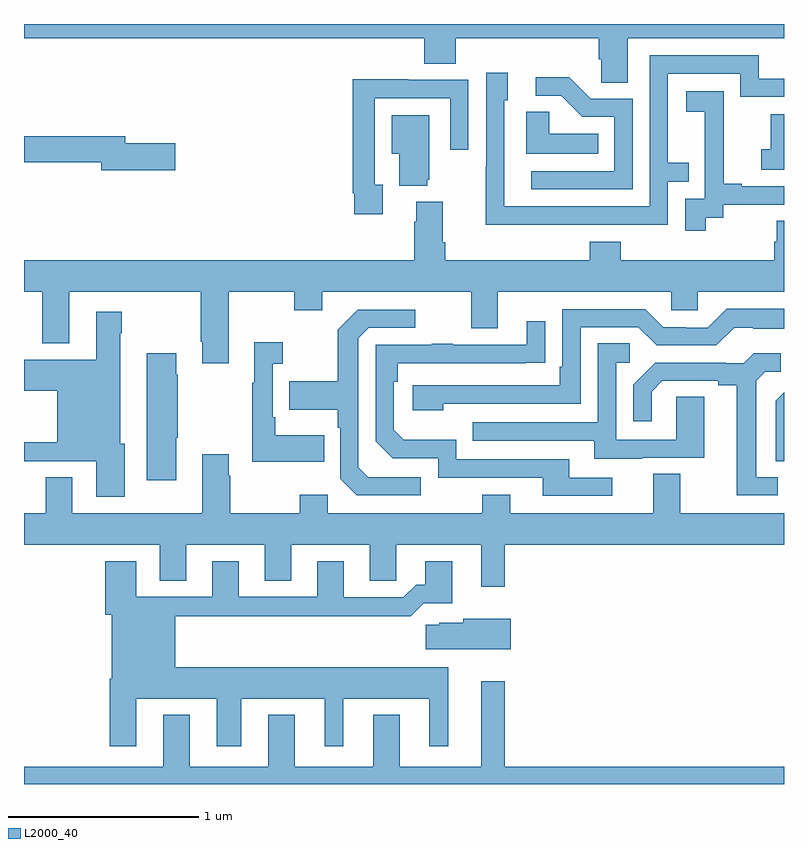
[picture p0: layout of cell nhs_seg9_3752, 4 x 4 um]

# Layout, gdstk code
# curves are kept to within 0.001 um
import gdstk
lib = gdstk.Library(unit=1e-6, precision=1e-09)
def P(c, l, *ps):  # polygons
    for p in ps: c.add(gdstk.Polygon(p, *l))
L2000_40 = (2000, 40)

nhs_seg9_3752 = lib.new_cell('nhs_seg9_3752')
P(nhs_seg9_3752, L2000_40, [(328.177,1192.424),(329,1192.424),(329,1192.5),(325,1192.5),(325,1192.424),(327.107,1192.424),(327.107,1192.291),(327.272,1192.291),(327.272,1192.424),(328.025,1192.424),(328.025,1192.315),(328.038,1192.315),(328.038,1192.192),(328.177,1192.192)],
  [(327.893,1191.444),(328.389,1191.444),(328.389,1191.669),(328.499,1191.669),(328.499,1191.77),(328.389,1191.77),(328.389,1192.239),(328.77,1192.239),(328.77,1192.116),(329,1192.116),(329,1192.212),(328.867,1192.212),(328.867,1192.335),(328.293,1192.335),(328.293,1191.54),(327.528,1191.54),(327.528,1192.098),(327.547,1192.098),(327.547,1192.243),(327.432,1192.243),(327.432,1191.749),(327.43,1191.749),(327.43,1191.443),(327.893,1191.443)],
  [(328.203,1192.107),(327.984,1192.107),(327.871,1192.22),(327.693,1192.22),(327.693,1192.122),(327.827,1192.122),(327.938,1192.011),(328.107,1192.011),(328.107,1191.726),(327.669,1191.726),(327.669,1191.63),(328.203,1191.63)],
  [(326.887,1191.654),(326.847,1191.654),(326.847,1192.11),(327.243,1192.11),(327.243,1191.837),(327.339,1191.837),(327.339,1192.206),(327.023,1192.206),(327.023,1192.208),(326.731,1192.208),(326.731,1191.61),(326.739,1191.61),(326.739,1191.498),(326.887,1191.498)],
  [(328.588,1191.481),(328.68,1191.481),(328.68,1191.549),(329,1191.549),(329,1191.645),(328.777,1191.645),(328.777,1191.658),(328.682,1191.658),(328.682,1191.941),(328.683,1191.941),(328.683,1192.147),(328.485,1192.147),(328.485,1192.037),(328.583,1192.037),(328.583,1191.809),(328.584,1191.809),(328.584,1191.579),(328.479,1191.579),(328.479,1191.411),(328.588,1191.411)],
  [(328.022,1191.922),(327.765,1191.922),(327.765,1192.037),(327.644,1192.037),(327.644,1191.818),(328.022,1191.818)],
  [(329,1192.026),(328.93,1192.026),(328.93,1191.841),(328.881,1191.841),(328.881,1191.732),(329,1191.732)],
  [(327.122,1191.681),(327.133,1191.681),(327.133,1192.021),(326.936,1192.021),(326.936,1191.818),(326.975,1191.818),(326.975,1191.65),(327.122,1191.65)],
  [(325.795,1191.872),(325.534,1191.872),(325.534,1191.908),(325,1191.908),(325,1191.772),(325.406,1191.772),(325.406,1191.73),(325.795,1191.73)],
  [(326.077,1191.092),(326.422,1191.092),(326.422,1190.993),(326.569,1190.993),(326.569,1191.092),(327.353,1191.092),(327.353,1190.898),(327.493,1190.898),(327.493,1191.092),(328.407,1191.092),(328.407,1190.994),(328.545,1190.994),(328.545,1191.092),(329,1191.092),(329,1191.464),(328.961,1191.464),(328.961,1191.354),(328.949,1191.354),(328.949,1191.256),(328.142,1191.256),(328.142,1191.355),(327.977,1191.355),(327.977,1191.256),(327.218,1191.256),(327.218,1191.352),(327.205,1191.352),(327.205,1191.565),(327.065,1191.565),(327.065,1191.458),(327.053,1191.458),(327.053,1191.256),(325,1191.256),(325,1191.092),(325.097,1191.092),(325.097,1190.819),(325.237,1190.819),(325.237,1191.092),(325.93,1191.092),(325.93,1190.827),(325.937,1190.827),(325.937,1190.715),(326.077,1190.715)],
  [(327.206,1190.502),(327.93,1190.502),(327.93,1190.904),(328.233,1190.904),(328.329,1190.808),(328.644,1190.808),(328.737,1190.901),(328.837,1190.901),(328.837,1190.897),(329,1190.897),(329,1191.001),(328.699,1191.001),(328.599,1190.901),(328.484,1190.901),(328.484,1190.904),(328.365,1190.904),(328.269,1191),(327.834,1191),(327.834,1190.695),(327.821,1190.695),(327.821,1190.598),(327.045,1190.598),(327.045,1190.468),(327.206,1190.468)],
  [(327.088,1190.115),(326.811,1190.115),(326.76,1190.166),(326.76,1190.847),(326.814,1190.901),(327.058,1190.901),(327.058,1190.997),(326.757,1190.997),(326.652,1190.891),(326.652,1190.619),(326.395,1190.619),(326.395,1190.471),(326.652,1190.471),(326.652,1190.375),(326.664,1190.375),(326.664,1190.106),(326.751,1190.019),(327.088,1190.019)],
  [(325.531,1190.292),(325.507,1190.292),(325.507,1190.873),(325.515,1190.873),(325.515,1190.986),(325.379,1190.986),(325.379,1190.734),(325,1190.734),(325,1190.57),(325.175,1190.57),(325.175,1190.3),(325,1190.3),(325,1190.199),(325.379,1190.199),(325.379,1190.013),(325.531,1190.013)],
  [(328.096,1190.112),(327.871,1190.112),(327.871,1190.208),(327.276,1190.208),(327.276,1190.311),(326.999,1190.311),(326.946,1190.364),(326.946,1190.618),(326.966,1190.618),(326.966,1190.715),(327.743,1190.716),(327.743,1190.935),(327.647,1190.935),(327.647,1190.811),(327.257,1190.811),(327.257,1190.816),(327.145,1190.816),(327.145,1190.811),(326.85,1190.811),(326.85,1190.304),(326.94,1190.214),(327.18,1190.214),(327.18,1190.112),(327.731,1190.112),(327.731,1190.016),(328.096,1190.016)],
  [(326.579,1190.335),(326.323,1190.335),(326.323,1190.431),(326.31,1190.431),(326.31,1190.711),(326.362,1190.711),(326.362,1190.824),(326.213,1190.824),(326.213,1190.611),(326.202,1190.611),(326.202,1190.195),(326.579,1190.195)],
  [(328.255,1190.217),(328.579,1190.217),(328.579,1190.537),(328.434,1190.537),(328.434,1190.313),(328.116,1190.313),(328.116,1190.718),(328.189,1190.718),(328.189,1190.819),(328.02,1190.819),(328.02,1190.403),(327.361,1190.403),(327.361,1190.307),(328.001,1190.307),(328.001,1190.213),(328.255,1190.213)],
  [(325.801,1190.323),(325.809,1190.323),(325.809,1190.654),(325.801,1190.654),(325.801,1190.767),(325.646,1190.767),(325.646,1190.1),(325.801,1190.1)],
  [(328.966,1190.115),(328.855,1190.115),(328.855,1190.623),(328.902,1190.67),(328.984,1190.67),(328.984,1190.767),(328.84,1190.767),(328.788,1190.715),(328.694,1190.715),(328.694,1190.718),(328.322,1190.718),(328.206,1190.602),(328.206,1190.409),(328.303,1190.409),(328.303,1190.565),(328.36,1190.622),(328.655,1190.622),(328.655,1190.6),(328.751,1190.6),(328.751,1190.019),(328.966,1190.019)],
  [(329,1190.562),(328.956,1190.518),(328.956,1190.2),(329,1190.2)],
  [(327.529,1189.76),(329,1189.76),(329,1189.924),(328.453,1189.924),(328.453,1190.132),(328.313,1190.132),(328.313,1189.924),(327.559,1189.924),(327.559,1190.023),(327.412,1190.023),(327.412,1189.924),(326.598,1189.924),(326.598,1190.023),(326.452,1190.023),(326.452,1189.924),(326.085,1189.924),(326.085,1190.123),(326.077,1190.123),(326.077,1190.236),(325.937,1190.236),(325.937,1189.924),(325.255,1189.924),(325.255,1190.114),(325.115,1190.114),(325.115,1189.924),(325,1189.924),(325,1189.76),(325.715,1189.76),(325.715,1189.57),(325.855,1189.57),(325.855,1189.76),(326.267,1189.76),(326.267,1189.57),(326.407,1189.57),(326.407,1189.76),(326.819,1189.76),(326.819,1189.57),(326.958,1189.57),(326.958,1189.76),(327.407,1189.76),(327.407,1189.539),(327.529,1189.539)],
  [(325.591,1188.95),(326.015,1188.95),(326.015,1188.699),(326.143,1188.699),(326.143,1188.95),(326.582,1188.95),(326.582,1188.699),(326.68,1188.699),(326.68,1188.95),(327.134,1188.95),(327.134,1188.699),(327.232,1188.699),(327.232,1189.114),(325.795,1189.114),(325.795,1189.384),(326.779,1189.384),(326.779,1189.382),(327.035,1189.382),(327.105,1189.452),(327.253,1189.452),(327.253,1189.672),(327.113,1189.672),(327.113,1189.549),(327.064,1189.549),(326.997,1189.482),(326.683,1189.482),(326.683,1189.672),(326.543,1189.672),(326.543,1189.485),(326.131,1189.485),(326.131,1189.672),(325.991,1189.672),(325.991,1189.485),(325.591,1189.485),(325.591,1189.672),(325.427,1189.672),(325.427,1189.392),(325.463,1189.392),(325.463,1189.054),(325.451,1189.054),(325.451,1188.699),(325.591,1188.699)],
  [(327.562,1189.369),(327.312,1189.369),(327.312,1189.348),(327.186,1189.348),(327.186,1189.337),(327.114,1189.337),(327.114,1189.208),(327.562,1189.208)],
  [(329,1188.592),(327.529,1188.592),(327.529,1189.042),(327.407,1189.042),(327.407,1188.592),(326.977,1188.592),(326.977,1188.865),(326.837,1188.865),(326.837,1188.592),(326.425,1188.592),(326.425,1188.865),(326.285,1188.865),(326.285,1188.592),(325.873,1188.592),(325.873,1188.865),(325.733,1188.865),(325.733,1188.592),(325,1188.592),(325,1188.5),(329,1188.5)])

lib.write_gds('nhs_seg9_3752.gds')
